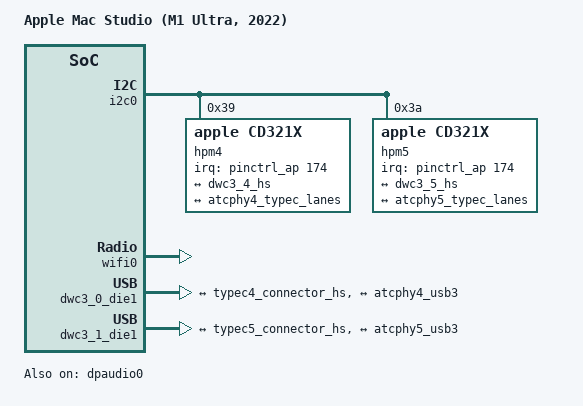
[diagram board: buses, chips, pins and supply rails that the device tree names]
// SPDX-License-Identifier: GPL-2.0+ OR MIT
/*
 * Mac Studio (M1 Ultra, 2022)
 *
 * target-type: J375d
 *
 * Copyright The Asahi Linux Contributors
 */

/dts-v1/;

#define ENABLE_DCPEXT_TYPEC

#include "t6002.dtsi"
#include "t600x-j375.dtsi"

/ {
	compatible = "apple,j375d", "apple,t6002", "apple,arm-platform";
	model = "Apple Mac Studio (M1 Ultra, 2022)";
	aliases {
		atcphy4 = &atcphy0_die1;
		atcphy5 = &atcphy1_die1;
	};
};

&dpaudio0 {
	status = "okay";
};

&sound {
	compatible = "apple,j375-macaudio", "apple,macaudio";
	model = "Mac Studio J375";
};

/* USB Type C */
&i2c0 {
	/* front-right */
	hpm4: usb-pd@39 {
		compatible = "apple,cd321x";
		reg = <0x39>;
		interrupt-parent = <&pinctrl_ap>;
		interrupts = <174 IRQ_TYPE_LEVEL_LOW>;
		interrupt-names = "irq";

		typec4: connector {
			compatible = "usb-c-connector";
			label = "USB-C Front Right";
			power-role = "dual";
			data-role = "dual";

			ports {
				#address-cells = <1>;
				#size-cells = <0>;
				port@0 {
					reg = <0>;
					typec4_connector_hs: endpoint {
						remote-endpoint = <&dwc3_4_hs>;
					};
				};
				port@1 {
					reg = <1>;
					typec4_connector_ss: endpoint {
						remote-endpoint = <&atcphy4_typec_lanes>;
					};
				};
			};
		};
	};

	/* front-left */
	hpm5: usb-pd@3a {
		compatible = "apple,cd321x";
		reg = <0x3a>;
		interrupt-parent = <&pinctrl_ap>;
		interrupts = <174 IRQ_TYPE_LEVEL_LOW>;
		interrupt-names = "irq";

		typec5: connector {
			compatible = "usb-c-connector";
			label = "USB-C Front Left";
			power-role = "dual";
			data-role = "dual";

			ports {
				#address-cells = <1>;
				#size-cells = <0>;
				port@0 {
					reg = <0>;
					typec5_connector_hs: endpoint {
						remote-endpoint = <&dwc3_5_hs>;
					};
				};
				port@1 {
					reg = <1>;
					typec5_connector_ss: endpoint {
						remote-endpoint = <&atcphy5_typec_lanes>;
					};
				};
			};
		};
	};
};

&wifi0 {
	brcm,board-type = "apple,okinawa";
};

&bluetooth0 {
	brcm,board-type = "apple,okinawa";
};

/* USB controllers on die 1 */
&dwc3_0_die1 {
	ports {
		#address-cells = <1>;
		#size-cells = <0>;

		port@0 {
			reg = <0>;
			dwc3_4_hs: endpoint {
				remote-endpoint = <&typec4_connector_hs>;
			};
		};

		port@1 {
			reg = <1>;
			dwc3_4_ss: endpoint {
				remote-endpoint = <&atcphy4_usb3>;
			};
		};
	};
};

&dwc3_1_die1 {
	ports {
		#address-cells = <1>;
		#size-cells = <0>;

		port@0 {
			reg = <0>;
			dwc3_5_hs: endpoint {
				remote-endpoint = <&typec5_connector_hs>;
			};
		};

		port@1 {
			reg = <1>;
			dwc3_5_ss: endpoint {
				remote-endpoint = <&atcphy5_usb3>;
			};
		};
	};
};

/* Type-C PHYs */
&atcphy0_die1 {
	ports {
		#address-cells = <1>;
		#size-cells = <0>;

		port@0 {
			reg = <0>;
			atcphy4_typec_lanes: endpoint {
				remote-endpoint = <&typec4_connector_ss>;
			};
		};

		port@1 {
			reg = <1>;
			atcphy4_usb3: endpoint {
				remote-endpoint = <&dwc3_4_ss>;
			};
		};
	};
};

&atcphy1_die1 {
	ports {
		#address-cells = <1>;
		#size-cells = <0>;

		port@0 {
			reg = <0>;
			atcphy5_typec_lanes: endpoint {
				remote-endpoint = <&typec5_connector_ss>;
			};
		};

		port@1 {
			reg = <1>;
			atcphy5_usb3: endpoint {
				remote-endpoint = <&dwc3_5_ss>;
			};
		};
	};
};

/* delete unused USB nodes on die 1 */

/delete-node/ &dwc3_2_dart_0_die1;
/delete-node/ &dwc3_2_dart_1_die1;
/delete-node/ &dwc3_2_die1;
/delete-node/ &atcphy2_die1;
/delete-node/ &atcphy2_xbar_die1;

/delete-node/ &dwc3_3_dart_0_die1;
/delete-node/ &dwc3_3_dart_1_die1;
/delete-node/ &dwc3_3_die1;
/delete-node/ &atcphy3_die1;
/delete-node/ &atcphy3_xbar_die1;

/* delete unused always-on power-domains on die 1 */

/delete-node/ &ps_atc2_usb_aon_die1;
/delete-node/ &ps_atc2_usb_die1;

/delete-node/ &ps_atc3_usb_aon_die1;
/delete-node/ &ps_atc3_usb_die1;

/delete-node/ &ps_disp0_cpu0_die1;
/delete-node/ &ps_disp0_fe_die1;

&gpu {
	apple,avg-power-ki-only = <0.6375>;
	apple,avg-power-kp = <0.58>;
	apple,avg-power-target-filter-tc = <1>;
	apple,perf-base-pstate = <3>;
	apple,ppm-ki = <5.8>;
	apple,ppm-kp = <0.355>;
};

#include "hwmon-fan-dual.dtsi"
